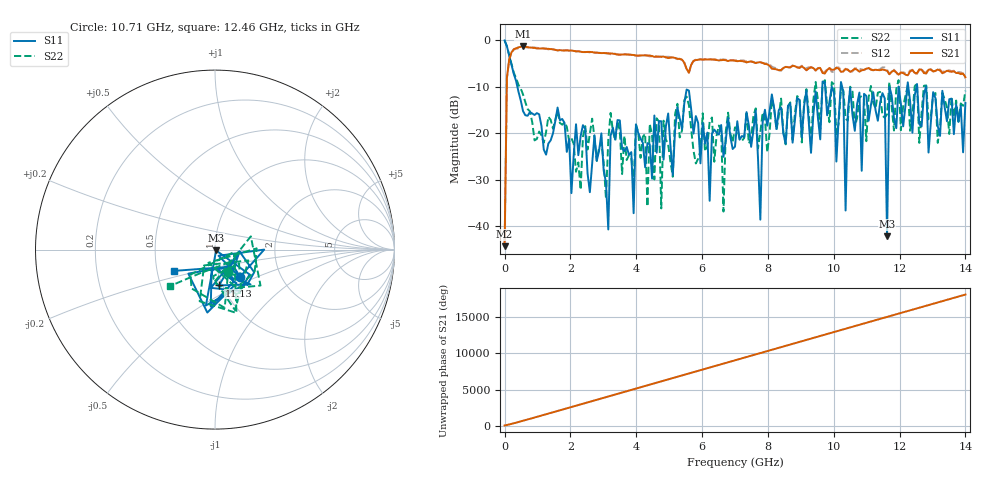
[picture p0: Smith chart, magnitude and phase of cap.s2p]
#  HZ  S  RI  R  50.00
! Rohde & Schwarz Vector Network Analyzer
! Rohde-Schwarz,ZNLE14-2Port,1323001264200055,1.71.1.10-23.02.1.238
! Created: UTC 1/21/2025, 7:08:56 AM
! freq[Hz]  re:S11  im:S11  re:S21  im:S21  re:S12  im:S12  re:S22  im:S22
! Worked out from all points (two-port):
!   201 points, 1 MHz to 14 GHz, reference 50 ohm
!   highest |S21| = -1.32 dB at 561 MHz (marker M1); lowest = -44.3 dB at 1 MHz (marker M2)
!   |S21| within 3 dB of the highest: 137 MHz to 5.407 GHz (5.27 GHz wide, 190 % of centre); 5.778 GHz to 6.507 GHz (728.5 MHz wide, 11.9 % of centre) (the widest 2 of 4)
!   lowest |S11| = -42.1 dB at 11.62 GHz (marker M3), VSWR 1.02, Z = 50.6 - j0.496 ohm
!   |S11| at or under -10 dB: 389.2 MHz to 9.654 GHz (9.265 GHz wide, 184 % of centre); 10.26 GHz to 11.97 GHz (1.715 GHz wide, 15.4 % of centre); 12.81 GHz to end of sweep (the widest 3 of 8)
!   |S22| runs from -36.8 to 0.0 dB; largest |S21 - S12| = 0.035
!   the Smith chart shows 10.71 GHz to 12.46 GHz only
!   S11 on the Smith chart (normalised r, x): 10.71 GHz: 1.24, -0.40; 11.13 GHz: 0.96, -0.40; 12.46 GHz: 0.62, -0.16
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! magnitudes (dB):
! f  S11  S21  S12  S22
! 1 MHz  0.0  -44.3  -44.3  0.0
! 71 MHz  -1.3  -8.1  -8.1  -1.3
! 561 MHz  -15.2  -1.3  -1.5  -11.7
! 2.381 GHz  -18.2  -2.5  -2.5  -20.7
! 3.151 GHz  -40.7  -2.8  -2.9  -21.4
! 3.291 GHz  -18.8  -2.9  -2.9  -19.5
! 3.921 GHz  -37.2  -3.2  -3.2  -30.6
! 4.691 GHz  -17.4  -3.5  -3.5  -17.5
! 4.761 GHz  -17.4  -3.5  -3.6  -36.2
! 5.251 GHz  -14.4  -4.0  -4.1  -13.7
! 6.651 GHz  -25.1  -4.2  -4.1  -36.8
! 7 GHz  -22.9  -4.4  -4.3  -18.7
! 9.38 GHz  -16.0  -6.0  -6.1  -12.9
! 10.22 GHz  -9.0  -6.8  -6.4  -10.5
! 10.36 GHz  -36.6  -6.2  -6.1  -16.9
! 10.71 GHz  -13.7  -6.3  -5.9  -16.7
! 11.13 GHz  -13.9  -6.3  -6.2  -9.8
! 11.55 GHz  -12.5  -6.4  -5.9  -16.6
! 11.62 GHz  -42.1  -6.5  -6.3  -15.9
! 11.69 GHz  -10.0  -7.3  -7.3  -9.0
! 12.46 GHz  -11.9  -7.0  -7.1  -9.9
! 14 GHz  -13.5  -7.9  -8.2  -10.8
